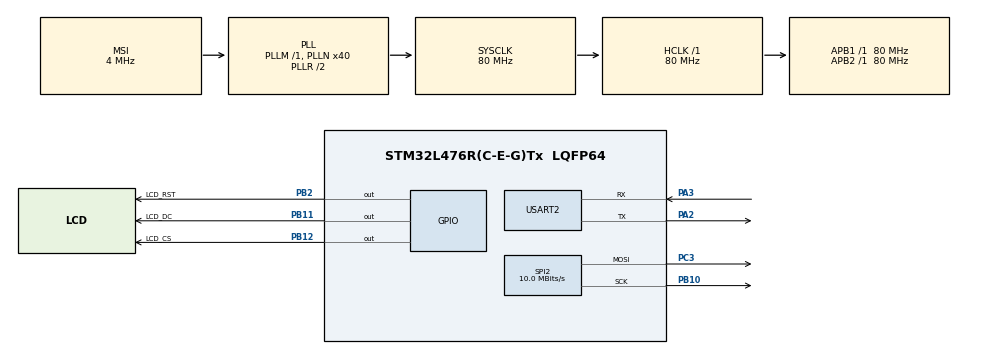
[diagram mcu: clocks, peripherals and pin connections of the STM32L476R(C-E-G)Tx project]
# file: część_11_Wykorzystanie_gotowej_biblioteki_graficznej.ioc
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Dma.Request0=SPI2_TX
Dma.SPI2_TX.0.Direction=DMA_MEMORY_TO_PERIPH
Dma.SPI2_TX.0.Instance=DMA1_Channel5
Dma.SPI2_TX.0.MemDataAlignment=DMA_MDATAALIGN_BYTE
Dma.SPI2_TX.0.MemInc=DMA_MINC_ENABLE
Dma.SPI2_TX.0.Mode=DMA_NORMAL
Dma.SPI2_TX.0.PeriphDataAlignment=DMA_PDATAALIGN_BYTE
Dma.SPI2_TX.0.PeriphInc=DMA_PINC_DISABLE
Dma.SPI2_TX.0.Priority=DMA_PRIORITY_LOW
Mcu.Family=STM32L4
Mcu.Name=STM32L476R(C-E-G)Tx
Mcu.Package=LQFP64
NVIC.DMA1_Channel5_IRQn=true\:10\:0\:true\:false\:true\:false\:true\:true
NVIC.PriorityGroup=NVIC_PRIORITYGROUP_4
NVIC.USART2_IRQn=true\:12\:0\:true\:false\:true\:true\:true\:true
PA2.Mode=Asynchronous
PA2.Signal=USART2_TX
PA3.Mode=Asynchronous
PA3.Signal=USART2_RX
PB10.Mode=TX_Only_Simplex_Unidirect_Master
PB10.Signal=SPI2_SCK
PB11.GPIO_Label=LCD_DC
PB11.Signal=GPIO_Output
PB12.GPIO_Label=LCD_CS
PB12.PinState=GPIO_PIN_SET
PB12.Signal=GPIO_Output
PB2.GPIO_Label=LCD_RST
PB2.Signal=GPIO_Output
PC3.Mode=TX_Only_Simplex_Unidirect_Master
PC3.Signal=SPI2_MOSI
ProjectManager.HeapSize=0x200
ProjectManager.StackSize=0x2000
ProjectManager.TargetToolchain=STM32CubeIDE
RCC.AHBFreq_Value=80000000
RCC.APB1Freq_Value=80000000
RCC.APB1TimFreq_Value=80000000
RCC.APB2Freq_Value=80000000
RCC.APB2TimFreq_Value=80000000
RCC.CortexFreq_Value=80000000
RCC.HCLKFreq_Value=80000000
RCC.HSE_VALUE=8000000
RCC.HSI_VALUE=16000000
RCC.LSE_VALUE=32768
RCC.MSI_VALUE=4000000
RCC.PLLN=40
RCC.SYSCLKFreq_VALUE=80000000
RCC.SYSCLKSource=RCC_SYSCLKSOURCE_PLLCLK
RCC.VCOOutputFreq_Value=160000000
SPI2.BaudRatePrescaler=SPI_BAUDRATEPRESCALER_8
SPI2.CalculateBaudRate=10.0 MBits/s
SPI2.DataSize=SPI_DATASIZE_8BIT
SPI2.Direction=SPI_DIRECTION_2LINES
SPI2.Mode=SPI_MODE_MASTER
SPI2.VirtualType=VM_MASTER
USART2.VirtualMode-Asynchronous=VM_ASYNC
board=custom

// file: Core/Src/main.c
/* USER CODE BEGIN Header */
/**
  ******************************************************************************
  * @file           : main.c
  * @brief          : Main program body
  ******************************************************************************
  * @attention
  *
  * Copyright (c) 2026 STMicroelectronics.
  * All rights reserved.
  *
  * This software is licensed under terms that can be found in the LICENSE file
  * in the root directory of this software component.
  * If no LICENSE file comes with this software, it is provided AS-IS.
  *
  ******************************************************************************
  */
/* USER CODE END Header */
#include "main.h"
#include "dma.h"
#include "spi.h"
#include "usart.h"
#include "gpio.h"

/* USER CODE BEGIN Includes */
#include "stdio.h"
#include "string.h"
#include "lcd.h"
#include "hagl.h"
#include "font6x9.h"
#include "rgb565.h"
/* USER CODE END Includes */

void SystemClock_Config(void);

/* USER CODE BEGIN 0 */
void HAL_SPI_TxCpltCallback(SPI_HandleTypeDef *hspi)
{
	if (hspi == &hspi2)
	{
		lcd_transfer_done();
	}
}
/* USER CODE END 0 */

int main(void)
{

  /* MCU Configuration--------------------------------------------------------*/

  /* Reset of all peripherals, Initializes the Flash interface and the Systick. */
  HAL_Init();

  /* Configure the system clock */
  SystemClock_Config();

  /* Initialize all configured peripherals */
  MX_GPIO_Init();
  MX_DMA_Init();
  MX_SPI2_Init();
  MX_USART2_UART_Init();
  /* USER CODE BEGIN 2 */
wchar_t textBuffer[16];
uint16_t counter = 5;

lcd_init();

hagl_backend_t *display = hagl_init();

hagl_draw_rectangle(display, 4, 4, 156, 124, rgb565(0, 0, 255));

hagl_put_text(display, L"Hello World!", 40, 55, rgb565(0, 255, 0), font6x9);

hagl_flush(display);
  /* USER CODE END 2 */

  /* Infinite loop */
  /* USER CODE BEGIN WHILE */

  while (1)
  {
	while(lcd_is_busy()) {}

	if (counter == 10)
		counter = 0;

	swprintf(textBuffer, sizeof(textBuffer)/sizeof(wchar_t), L"%lu", counter);
	hagl_put_text(display, textBuffer, 70, 75, rgb565(210, 130, 80), font6x9);
	hagl_flush(display);
	HAL_Delay(250);
	counter ++;
    /* USER CODE END WHILE */

  }
}

void SystemClock_Config(void)
{
  RCC_OscInitTypeDef RCC_OscInitStruct = {0};
  RCC_ClkInitTypeDef RCC_ClkInitStruct = {0};

  /** Configure the main internal regulator output voltage
  */
  if (HAL_PWREx_ControlVoltageScaling(PWR_REGULATOR_VOLTAGE_SCALE1) != HAL_OK)
  {
    Error_Handler();
  }

  /** Initializes the RCC Oscillators according to the specified parameters
  * in the RCC_OscInitTypeDef structure.
  */
  RCC_OscInitStruct.OscillatorType = RCC_OSCILLATORTYPE_MSI;
  RCC_OscInitStruct.MSIState = RCC_MSI_ON;
  RCC_OscInitStruct.MSICalibrationValue = 0;
  RCC_OscInitStruct.MSIClockRange = RCC_MSIRANGE_6;
  RCC_OscInitStruct.PLL.PLLState = RCC_PLL_ON;
  RCC_OscInitStruct.PLL.PLLSource = RCC_PLLSOURCE_MSI;
  RCC_OscInitStruct.PLL.PLLM = 1;
  RCC_OscInitStruct.PLL.PLLN = 40;
  RCC_OscInitStruct.PLL.PLLP = RCC_PLLP_DIV7;
  RCC_OscInitStruct.PLL.PLLQ = RCC_PLLQ_DIV2;
  RCC_OscInitStruct.PLL.PLLR = RCC_PLLR_DIV2;
  if (HAL_RCC_OscConfig(&RCC_OscInitStruct) != HAL_OK)
  {
    Error_Handler();
  }

  /** Initializes the CPU, AHB and APB buses clocks
  */
  RCC_ClkInitStruct.ClockType = RCC_CLOCKTYPE_HCLK|RCC_CLOCKTYPE_SYSCLK
                              |RCC_CLOCKTYPE_PCLK1|RCC_CLOCKTYPE_PCLK2;
  RCC_ClkInitStruct.SYSCLKSource = RCC_SYSCLKSOURCE_PLLCLK;
  RCC_ClkInitStruct.AHBCLKDivider = RCC_SYSCLK_DIV1;
  RCC_ClkInitStruct.APB1CLKDivider = RCC_HCLK_DIV1;
  RCC_ClkInitStruct.APB2CLKDivider = RCC_HCLK_DIV1;

  if (HAL_RCC_ClockConfig(&RCC_ClkInitStruct, FLASH_LATENCY_4) != HAL_OK)
  {
    Error_Handler();
  }
}

void Error_Handler(void)
{
  __disable_irq();
  while (1)
  {
  }
}
